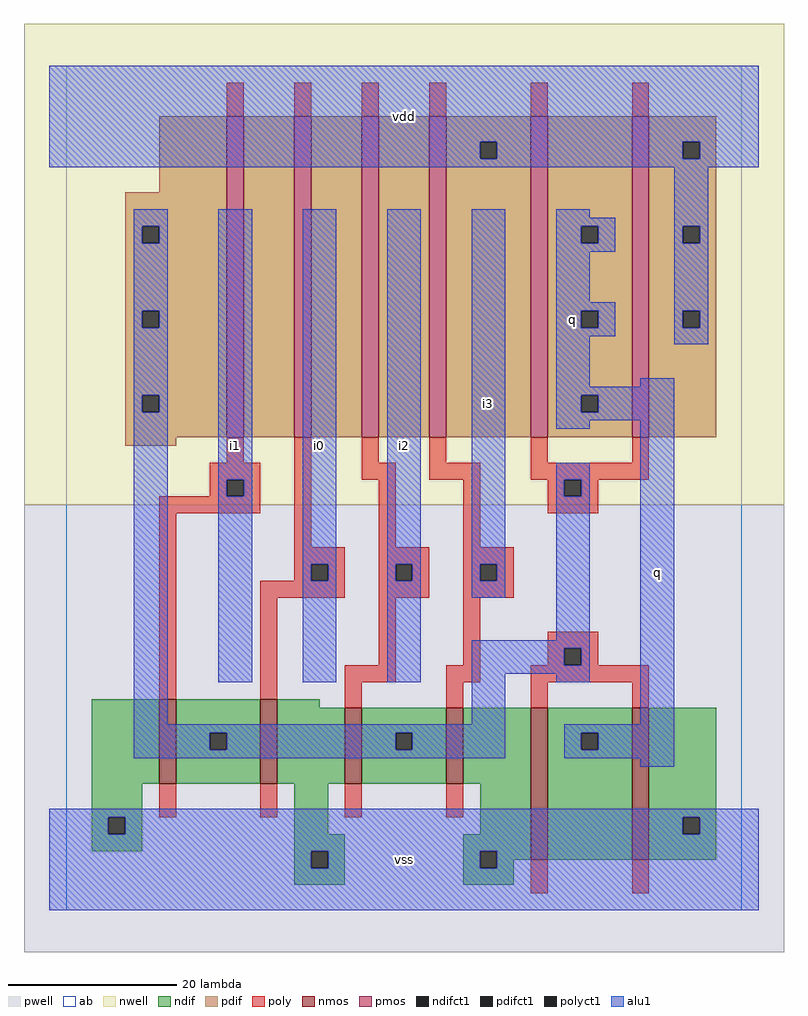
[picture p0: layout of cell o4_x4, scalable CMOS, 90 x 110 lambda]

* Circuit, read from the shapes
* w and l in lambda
.subckt o4_x4 i0 i1 i2 i3 q vdd vss
M1 n1 i1 vss VSUBS nfet w=10 l=2
M2 vss i0 n1 VSUBS nfet w=10 l=2
M3 n1 i2 vss VSUBS nfet w=9 l=2
M4 vss i3 n1 VSUBS nfet w=9 l=2
M5 q n1 vss VSUBS nfet w=18 l=2 m=2
M6 n2 i1 n1 n3 pfet w=38 l=2
M7 n4 i0 n2 n3 pfet w=38 l=2
M8 n5 i2 n4 n3 pfet w=38 l=2
M9 vdd i3 n5 n3 pfet w=38 l=2
M10 q n1 vdd n3 pfet w=38 l=2 m=2
.ends

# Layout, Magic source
magic
tech scmos
<< ab >>
rect 0 0 80 100
<< nwell >>
rect -5 48 85 105
<< pwell >>
rect -5 -5 85 48
<< poly >>
rect 19 94 21 98
rect 27 94 29 98
rect 35 94 37 98
rect 43 94 45 98
rect 55 94 57 98
rect 67 94 69 98
rect 19 53 21 56
rect 17 51 23 53
rect 17 49 19 51
rect 21 49 23 51
rect 11 47 23 49
rect 11 25 13 47
rect 27 43 29 56
rect 35 53 37 56
rect 43 53 45 56
rect 55 53 57 56
rect 67 53 69 56
rect 35 51 39 53
rect 43 51 49 53
rect 55 51 69 53
rect 37 43 39 51
rect 47 43 49 51
rect 57 49 59 51
rect 61 49 63 51
rect 57 47 63 49
rect 27 41 33 43
rect 27 39 29 41
rect 31 39 33 41
rect 23 37 33 39
rect 37 41 43 43
rect 37 39 39 41
rect 41 39 43 41
rect 37 37 43 39
rect 47 41 53 43
rect 47 39 49 41
rect 51 39 53 41
rect 47 37 53 39
rect 23 25 25 37
rect 37 29 39 37
rect 47 29 49 37
rect 57 31 63 33
rect 57 29 59 31
rect 61 29 63 31
rect 33 27 39 29
rect 45 27 49 29
rect 55 27 69 29
rect 33 24 35 27
rect 45 24 47 27
rect 55 24 57 27
rect 67 24 69 27
rect 11 11 13 15
rect 23 11 25 15
rect 33 11 35 15
rect 45 11 47 15
rect 55 2 57 6
rect 67 2 69 6
<< ndif >>
rect 3 15 11 25
rect 13 21 23 25
rect 13 19 17 21
rect 19 19 23 21
rect 13 15 23 19
rect 25 24 30 25
rect 25 15 33 24
rect 35 21 45 24
rect 35 19 39 21
rect 41 19 45 21
rect 35 15 45 19
rect 47 15 55 24
rect 3 11 9 15
rect 3 9 5 11
rect 7 9 9 11
rect 3 7 9 9
rect 27 9 31 15
rect 49 9 55 15
rect 27 7 33 9
rect 27 5 29 7
rect 31 5 33 7
rect 27 3 33 5
rect 47 7 55 9
rect 47 5 49 7
rect 51 6 55 7
rect 57 21 67 24
rect 57 19 61 21
rect 63 19 67 21
rect 57 6 67 19
rect 69 11 77 24
rect 69 9 73 11
rect 75 9 77 11
rect 69 6 77 9
rect 51 5 53 6
rect 47 3 53 5
<< pdif >>
rect 11 85 19 94
rect 7 81 19 85
rect 7 79 9 81
rect 11 79 19 81
rect 7 71 19 79
rect 7 69 9 71
rect 11 69 19 71
rect 7 61 19 69
rect 7 59 9 61
rect 11 59 19 61
rect 7 56 19 59
rect 21 56 27 94
rect 29 56 35 94
rect 37 56 43 94
rect 45 91 55 94
rect 45 89 49 91
rect 51 89 55 91
rect 45 56 55 89
rect 57 81 67 94
rect 57 79 61 81
rect 63 79 67 81
rect 57 71 67 79
rect 57 69 61 71
rect 63 69 67 71
rect 57 61 67 69
rect 57 59 61 61
rect 63 59 67 61
rect 57 56 67 59
rect 69 91 77 94
rect 69 89 73 91
rect 75 89 77 91
rect 69 81 77 89
rect 69 79 73 81
rect 75 79 77 81
rect 69 71 77 79
rect 69 69 73 71
rect 75 69 77 71
rect 69 56 77 69
rect 7 55 13 56
<< alu1 >>
rect -2 91 82 100
rect -2 89 49 91
rect 51 89 73 91
rect 75 89 82 91
rect -2 88 82 89
rect 8 81 12 83
rect 8 79 9 81
rect 11 79 12 81
rect 8 71 12 79
rect 8 69 9 71
rect 11 69 12 71
rect 8 61 12 69
rect 8 59 9 61
rect 11 59 12 61
rect 8 22 12 59
rect 18 51 22 83
rect 18 49 19 51
rect 21 49 22 51
rect 18 27 22 49
rect 28 41 32 83
rect 28 39 29 41
rect 31 39 32 41
rect 28 27 32 39
rect 38 41 42 83
rect 38 39 39 41
rect 41 39 42 41
rect 38 27 42 39
rect 48 41 52 83
rect 58 82 62 83
rect 58 81 65 82
rect 58 79 61 81
rect 63 79 65 81
rect 58 78 65 79
rect 72 81 76 88
rect 72 79 73 81
rect 75 79 76 81
rect 58 72 62 78
rect 58 71 65 72
rect 58 69 61 71
rect 63 69 65 71
rect 58 68 65 69
rect 72 71 76 79
rect 72 69 73 71
rect 75 69 76 71
rect 58 62 62 68
rect 72 67 76 69
rect 68 62 72 63
rect 58 61 72 62
rect 58 59 61 61
rect 63 59 72 61
rect 58 58 72 59
rect 58 57 62 58
rect 48 39 49 41
rect 51 39 52 41
rect 48 37 52 39
rect 58 51 62 53
rect 58 49 59 51
rect 61 49 62 51
rect 58 32 62 49
rect 48 31 62 32
rect 48 29 59 31
rect 61 29 62 31
rect 48 28 62 29
rect 48 22 52 28
rect 58 27 62 28
rect 68 22 72 58
rect 8 21 52 22
rect 8 19 17 21
rect 19 19 39 21
rect 41 19 52 21
rect 8 18 52 19
rect 59 21 72 22
rect 59 19 61 21
rect 63 19 72 21
rect 59 18 72 19
rect 68 17 72 18
rect -2 11 82 12
rect -2 9 5 11
rect 7 9 73 11
rect 75 9 82 11
rect -2 7 82 9
rect -2 5 29 7
rect 31 5 49 7
rect 51 5 82 7
rect -2 0 82 5
<< nmos >>
rect 11 15 13 25
rect 23 15 25 25
rect 33 15 35 24
rect 45 15 47 24
rect 55 6 57 24
rect 67 6 69 24
<< pmos >>
rect 19 56 21 94
rect 27 56 29 94
rect 35 56 37 94
rect 43 56 45 94
rect 55 56 57 94
rect 67 56 69 94
<< polyct1 >>
rect 19 49 21 51
rect 59 49 61 51
rect 29 39 31 41
rect 39 39 41 41
rect 49 39 51 41
rect 59 29 61 31
<< ndifct1 >>
rect 17 19 19 21
rect 39 19 41 21
rect 5 9 7 11
rect 29 5 31 7
rect 49 5 51 7
rect 61 19 63 21
rect 73 9 75 11
<< pdifct1 >>
rect 9 79 11 81
rect 9 69 11 71
rect 9 59 11 61
rect 49 89 51 91
rect 61 79 63 81
rect 61 69 63 71
rect 61 59 63 61
rect 73 89 75 91
rect 73 79 75 81
rect 73 69 75 71
<< labels >>
rlabel alu1 20 55 20 55 6 i1
rlabel alu1 30 55 30 55 6 i0
rlabel alu1 40 6 40 6 6 vss
rlabel alu1 40 55 40 55 6 i2
rlabel alu1 50 60 50 60 6 i3
rlabel alu1 40 94 40 94 6 vdd
rlabel alu1 70 40 70 40 6 q
rlabel alu1 60 70 60 70 6 q
<< end >>
